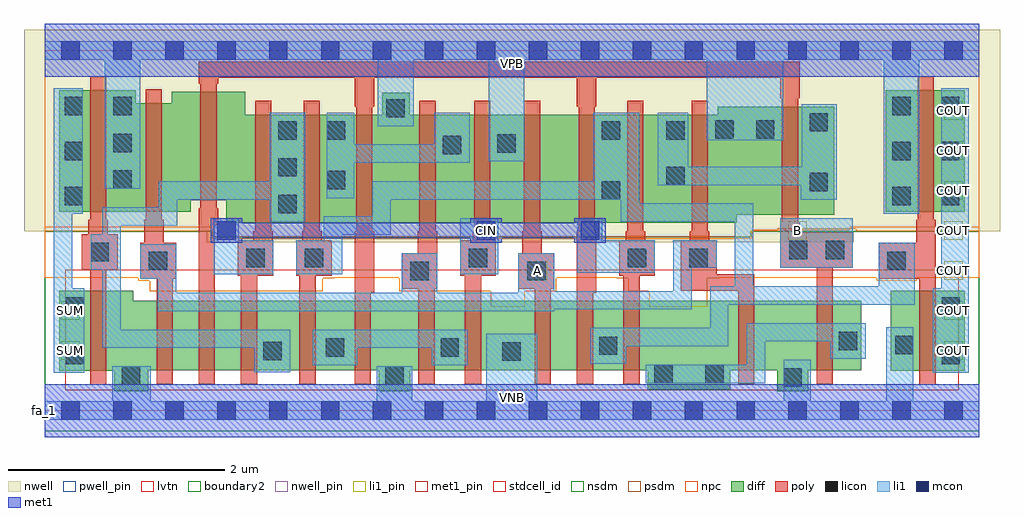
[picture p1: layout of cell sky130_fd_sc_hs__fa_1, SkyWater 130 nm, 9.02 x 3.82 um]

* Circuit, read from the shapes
.subckt sky130_fd_sc_hs__fa_1 A B CIN COUT SUM VGND VNB VPB VPWR
XM1 VGND n1 SUM VNB sky130_fd_pr__nfet_01v8_lvt w=0.74 l=0.15
XM2 n2 A VGND VNB sky130_fd_pr__nfet_01v8_lvt w=0.64 l=0.15
XM3 n3 B n2 VNB sky130_fd_pr__nfet_01v8_lvt w=0.64 l=0.15
XM4 n1 CIN n3 VNB sky130_fd_pr__nfet_01v8_lvt w=0.64 l=0.15
XM5 n4 n5 n1 VNB sky130_fd_pr__nfet_01v8_lvt w=0.64 l=0.15
XM6 VGND B n4 VNB sky130_fd_pr__nfet_01v8_lvt w=0.64 l=0.15
XM7 n4 A VGND VNB sky130_fd_pr__nfet_01v8_lvt w=0.64 l=0.15
XM8 VGND CIN n4 VNB sky130_fd_pr__nfet_01v8_lvt w=0.64 l=0.15
XM9 n6 A VGND VNB sky130_fd_pr__nfet_01v8_lvt w=0.64 l=0.15
XM10 n5 B n6 VNB sky130_fd_pr__nfet_01v8_lvt w=0.64 l=0.15
XM11 n7 CIN n5 VNB sky130_fd_pr__nfet_01v8_lvt w=0.64 l=0.15
XM12 VGND A n7 VNB sky130_fd_pr__nfet_01v8_lvt w=0.64 l=0.15
XM13 n7 B VGND VNB sky130_fd_pr__nfet_01v8_lvt w=0.64 l=0.15
XM14 COUT n5 VGND VNB sky130_fd_pr__nfet_01v8_lvt w=0.74 l=0.15
XM15 VPWR n1 SUM VPB sky130_fd_pr__pfet_01v8 w=1.12 l=0.15
XM16 n8 A VPWR VPB sky130_fd_pr__pfet_01v8 w=1 l=0.15
XM17 n9 B n8 VPB sky130_fd_pr__pfet_01v8 w=1 l=0.15
XM18 n1 CIN n9 VPB sky130_fd_pr__pfet_01v8 w=1 l=0.15
XM19 n10 n5 n1 VPB sky130_fd_pr__pfet_01v8 w=1 l=0.15
XM20 VPWR B n10 VPB sky130_fd_pr__pfet_01v8 w=1 l=0.15
XM21 n10 A VPWR VPB sky130_fd_pr__pfet_01v8 w=1 l=0.15
XM22 VPWR CIN n10 VPB sky130_fd_pr__pfet_01v8 w=1 l=0.15
XM23 n11 A VPWR VPB sky130_fd_pr__pfet_01v8 w=1 l=0.15
XM24 n5 B n11 VPB sky130_fd_pr__pfet_01v8 w=1 l=0.15
XM25 n12 CIN n5 VPB sky130_fd_pr__pfet_01v8 w=1 l=0.15
XM26 VPWR A n12 VPB sky130_fd_pr__pfet_01v8 w=1 l=0.15
XM27 n12 B VPWR VPB sky130_fd_pr__pfet_01v8 w=1 l=0.15
XM28 COUT n5 VPWR VPB sky130_fd_pr__pfet_01v8 w=1.12 l=0.15
.ends

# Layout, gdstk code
import gdstk
lib = gdstk.Library(unit=1e-6, precision=1e-09)
def R(c, l, rs):  # rectangles x0, y0, x1, y1
    for r in rs: c.add(gdstk.rectangle(r[:2], r[2:], *l))
def A(c, l, x, y, w, h, nx, ny, dx, dy):  # array of equal rectangles
    R(c, l, [(x+i*dx, y+j*dy, x+i*dx+w, y+j*dy+h) for i in range(nx) for j in range(ny)])
def P(c, l, *ps):  # polygons
    for p in ps: c.add(gdstk.Polygon(p, *l))
nwell_pin = (64, 16)
nwell = (64, 20)
diff = (65, 20)
poly = (66, 20)
licon = (66, 44)
li1_pin = (67, 16)
li1 = (67, 20)
mcon = (67, 44)
met1_pin = (68, 16)
met1 = (68, 20)
stdcell_id = (81, 4)
nsdm = (93, 44)
psdm = (94, 20)
npc = (95, 20)
pwell_pin = (122, 16)
lvtn = (125, 44)
boundary2 = (236, 0)

sky130_fd_sc_hs__fa_1 = lib.new_cell('sky130_fd_sc_hs__fa_1')
R(sky130_fd_sc_hs__fa_1, nwell_pin, [(0,3.085,8.64,3.33)])
P(sky130_fd_sc_hs__fa_1, nwell, [(8.83,3.52),(-0.19,3.52),(-0.19,1.66),(1.5,1.66),(1.5,1.555),(7.48,1.555),(7.48,1.66),(8.83,1.66)])
R(sky130_fd_sc_hs__fa_1, diff, [(7.82,0.37,8.505,1.11), (7.775,1.84,8.505,2.96)])
P(sky130_fd_sc_hs__fa_1, diff, [(7.3,2.81),(6.22,2.81),(6.22,2.735),(3.375,2.735),(3.375,2.94),(3.12,2.94),(3.12,2.735),(1.855,2.735),(1.855,2.945),(1.175,2.945),(1.175,2.84),(0.845,2.84),(0.845,2.96),(0.135,2.96),(0.135,1.84),(1.35,1.84),(1.35,1.945),(1.68,1.945),(1.68,1.735),(6.395,1.735),(6.395,1.81),(7.3,1.81)],
  [(7.55,1.015),(0.82,1.015),(0.82,1.11),(0.135,1.11),(0.135,0.37),(0.645,0.37),(0.645,0.18),(0.96,0.18),(0.96,0.375),(3.09,0.375),(3.09,0.18),(3.38,0.18),(3.38,0.375),(5.575,0.375),(5.575,0.195),(6.335,0.195),(6.335,0.375),(6.77,0.375),(6.77,0.18),(7.06,0.18),(7.06,0.375),(7.55,0.375)])
P(sky130_fd_sc_hs__fa_1, poly, [(0.675,1.63),(0.585,1.63),(0.585,1.765),(0.57,1.765),(0.57,3.09),(0.42,3.09),(0.42,1.765),(0.405,1.765),(0.405,1.63),(0.345,1.63),(0.345,1.3),(0.42,1.3),(0.42,0.24),(0.57,0.24),(0.57,1.3),(0.675,1.3)],
  [(1.215,1.55),(1.1,1.55),(1.1,1.765),(1.085,1.765),(1.085,2.97),(0.935,2.97),(0.935,1.765),(0.92,1.765),(0.92,1.55),(0.885,1.55),(0.885,1.22),(1.035,1.22),(1.035,0.245),(1.185,0.245),(1.185,1.22),(1.215,1.22)],
  [(2.115,1.575),(2.11,1.575),(2.11,1.66),(2.095,1.66),(2.095,2.865),(1.945,2.865),(1.945,1.66),(1.93,1.66),(1.93,1.575),(1.785,1.575),(1.785,1.245),(1.815,1.245),(1.815,0.245),(1.965,0.245),(1.965,1.245),(2.115,1.245)],
  [(2.655,1.575),(2.56,1.575),(2.56,1.66),(2.545,1.66),(2.545,2.865),(2.395,2.865),(2.395,1.66),(2.38,1.66),(2.38,1.575),(2.325,1.575),(2.325,1.245),(2.355,1.245),(2.355,0.245),(2.505,0.245),(2.505,1.245),(2.655,1.245)],
  [(3.63,1.66),(3.615,1.66),(3.615,2.865),(3.465,2.865),(3.465,1.66),(3.45,1.66),(3.45,1.455),(3.3,1.455),(3.3,1.125),(3.455,1.125),(3.455,0.245),(3.605,0.245),(3.605,1.125),(3.63,1.125)],
  [(4.17,1.575),(4.135,1.575),(4.135,1.66),(4.12,1.66),(4.12,2.865),(3.97,2.865),(3.97,1.66),(3.955,1.66),(3.955,1.575),(3.84,1.575),(3.84,1.245),(3.885,1.245),(3.885,0.245),(4.035,0.245),(4.035,1.245),(4.17,1.245)],
  [(4.71,1.455),(4.595,1.455),(4.595,1.66),(4.58,1.66),(4.58,2.865),(4.43,2.865),(4.43,1.66),(4.415,1.66),(4.415,1.455),(4.38,1.455),(4.38,1.125),(4.53,1.125),(4.53,0.245),(4.68,0.245),(4.68,1.125),(4.71,1.125)],
  [(5.64,1.575),(5.55,1.575),(5.55,1.66),(5.535,1.66),(5.535,2.865),(5.385,2.865),(5.385,1.66),(5.37,1.66),(5.37,1.575),(5.31,1.575),(5.31,1.245),(5.35,1.245),(5.35,0.245),(5.5,0.245),(5.5,1.245),(5.64,1.245)],
  [(6.56,1.26),(6.21,1.26),(6.21,1.575),(6.145,1.575),(6.145,1.66),(6.13,1.66),(6.13,2.865),(5.98,2.865),(5.98,1.66),(5.965,1.66),(5.965,1.575),(5.88,1.575),(5.88,1.11),(6.41,1.11),(6.41,0.245),(6.56,0.245)],
  [(7.47,1.65),(6.98,1.65),(6.98,1.735),(6.965,1.735),(6.965,2.885),(6.98,2.885),(6.98,3.225),(1.425,3.225),(1.425,3.02),(1.44,3.02),(1.44,1.87),(1.425,1.87),(1.425,0.245),(1.575,0.245),(1.575,1.715),(1.605,1.715),(1.605,1.87),(1.59,1.87),(1.59,3.02),(1.605,3.02),(1.605,3.075),(2.865,3.075),(2.865,2.81),(2.88,2.81),(2.88,1.66),(2.865,1.66),(2.865,0.245),(3.015,0.245),(3.015,1.09),(3.045,1.09),(3.045,1.66),(3.03,1.66),(3.03,2.81),(3.045,2.81),(3.045,3.075),(4.92,3.075),(4.92,2.81),(4.935,2.81),(4.935,1.66),(4.92,1.66),(4.92,0.245),(5.07,0.245),(5.07,1.09),(5.1,1.09),(5.1,1.66),(5.085,1.66),(5.085,2.81),(5.1,2.81),(5.1,3.075),(6.8,3.075),(6.8,2.885),(6.815,2.885),(6.815,1.735),(6.8,1.735),(6.8,1.32),(7.135,1.32),(7.135,0.245),(7.285,0.245),(7.285,1.32),(7.47,1.32)],
  [(8.235,1.765),(8.22,1.765),(8.22,3.09),(8.07,3.09),(8.07,1.765),(8.055,1.765),(8.055,1.55),(7.71,1.55),(7.71,1.22),(8.085,1.22),(8.085,0.24),(8.235,0.24)])
A(sky130_fd_sc_hs__fa_1, licon, 2.16, 1.825, 0.17, 0.17, 1, 3, 0, 0.34)
A(sky130_fd_sc_hs__fa_1, licon, 0.185, 1.9, 0.17, 0.17, 1, 3, 0, 0.415)
A(sky130_fd_sc_hs__fa_1, licon, 7.835, 1.9, 0.17, 0.17, 1, 3, 0, 0.415)
A(sky130_fd_sc_hs__fa_1, licon, 8.285, 1.9, 0.17, 0.17, 1, 3, 0, 0.415)
A(sky130_fd_sc_hs__fa_1, licon, 0.635, 2.05, 0.17, 0.17, 1, 3, 0, 0.34)
R(sky130_fd_sc_hs__fa_1, licon, [(6.83,0.22,7,0.39), (0.715,0.24,0.885,0.41), (3.15,0.24,3.32,0.41), (5.635,0.255,5.805,0.425), (6.105,0.255,6.275,0.425), (0.195,0.43,0.365,0.6), (8.29,0.43,8.46,0.6), (4.23,0.46,4.4,0.63), (2.02,0.465,2.19,0.635), (2.6,0.5,2.77,0.67), (3.66,0.5,3.83,0.67), (5.125,0.515,5.295,0.685), (7.86,0.52,8.03,0.69), (7.34,0.56,7.51,0.73), (0.195,0.88,0.365,1.05), (8.29,0.88,8.46,1.05), (3.38,1.205,3.55,1.375), (4.46,1.205,4.63,1.375), (0.965,1.3,1.135,1.47), (7.79,1.3,7.96,1.47), (1.865,1.325,2.035,1.495), (2.405,1.325,2.575,1.495), (3.92,1.325,4.09,1.495), (5.39,1.325,5.56,1.495), (5.96,1.325,6.13,1.495), (0.425,1.38,0.595,1.55), (6.88,1.4,7.05,1.57), (7.22,1.4,7.39,1.57), (5.15,1.95,5.32,2.12), (7.07,2.03,7.24,2.2), (2.61,2.045,2.78,2.215), (5.745,2.085,5.915,2.255), (3.68,2.37,3.85,2.54), (4.185,2.385,4.355,2.555), (2.61,2.505,2.78,2.675), (5.15,2.505,5.32,2.675), (5.745,2.505,5.915,2.675), (6.2,2.515,6.37,2.685), (6.575,2.515,6.745,2.685), (7.07,2.58,7.24,2.75), (3.16,2.71,3.33,2.88)])
A(sky130_fd_sc_hs__fa_1, li1_pin, 8.315, 0.47, 0.17, 0.17, 1, 7, 0, 0.37)
R(sky130_fd_sc_hs__fa_1, li1_pin, [(0.155,0.47,0.325,0.64), (0.155,0.84,0.325,1.01), (4.475,1.21,4.645,1.38), (6.875,1.58,7.045,1.75)])
R(sky130_fd_sc_hs__fa_1, li1, [(3.84,1.26,4.195,1.78), (6.8,1.32,7.47,1.78)])
P(sky130_fd_sc_hs__fa_1, li1, [(7.59,0.81),(6.49,0.81),(6.49,0.425),(5.555,0.425),(5.555,0.255),(6.66,0.255),(6.66,0.64),(7.26,0.64),(7.26,0.48),(7.59,0.48)],
  [(8.04,1.55),(7.71,1.55),(7.71,1.15),(6.55,1.15),(6.55,1.915),(5.495,1.915),(5.495,2.755),(5.07,2.755),(5.07,2.12),(3.03,2.12),(3.03,1.795),(2.58,1.795),(2.58,1.575),(2.325,1.575),(2.325,1.26),(2.75,1.26),(2.75,1.625),(3.2,1.625),(3.2,1.95),(5.325,1.95),(5.325,1.745),(6.38,1.745),(6.38,1.15),(6.15,1.15),(6.15,0.765),(5.045,0.765),(5.045,0.435),(5.375,0.435),(5.375,0.595),(6.32,0.595),(6.32,0.98),(8.04,0.98)],
  [(8.54,2.98),(8.285,2.98),(8.285,1.13),(8.21,1.13),(8.21,0.35),(8.54,0.35)],
  [(8.64,3.415),(0,3.415),(0,3.245),(0.555,3.245),(0.555,2.05),(0.885,2.05),(0.885,3.245),(3.08,3.245),(3.08,2.63),(3.41,2.63),(3.41,3.245),(4.105,3.245),(4.105,2.305),(4.435,2.305),(4.435,3.245),(6.12,3.245),(6.12,2.5),(6.825,2.5),(6.825,3.245),(7.755,3.245),(7.755,1.82),(8.085,1.82),(8.085,3.245),(8.64,3.245)],
  [(8.64,0.085),(8.03,0.085),(8.03,0.77),(7.78,0.77),(7.78,0.085),(7.08,0.085),(7.08,0.47),(6.83,0.47),(6.83,0.085),(4.555,0.085),(4.555,0.71),(4.08,0.71),(4.08,0.085),(3.4,0.085),(3.4,0.41),(3.07,0.41),(3.07,0.085),(0.98,0.085),(0.98,0.41),(0.625,0.41),(0.625,0.085),(0,0.085),(0,-0.085),(8.64,-0.085)],
  [(0.365,1.13),(0.255,1.13),(0.255,1.82),(0.355,1.82),(0.355,2.98),(0.085,2.98),(0.085,0.35),(0.365,0.35)],
  [(2.115,1.575),(1.795,1.575),(1.795,1.78),(1.565,1.78),(1.565,1.26),(2.115,1.26)],
  [(2.41,2.755),(2.08,2.755),(2.08,2.12),(1.055,2.12),(1.055,1.88),(0.535,1.88),(0.535,1.63),(0.425,1.63),(0.425,1.3),(0.535,1.3),(0.535,0.58),(1.94,0.58),(1.94,0.355),(2.27,0.355),(2.27,0.75),(0.705,0.75),(0.705,1.71),(1.225,1.71),(1.225,1.95),(2.08,1.95),(2.08,1.745),(2.41,1.745)],
  [(3.91,0.75),(2.48,0.75),(2.48,0.42),(2.89,0.42),(2.89,0.58),(3.58,0.58),(3.58,0.42),(3.91,0.42)],
  [(3.93,2.755),(3.6,2.755),(3.6,2.46),(2.86,2.46),(2.86,2.755),(2.61,2.755),(2.61,1.965),(2.86,1.965),(2.86,2.29),(3.93,2.29)],
  [(5.64,1.575),(5.155,1.575),(5.155,1.78),(4.925,1.78),(4.925,1.275),(5.64,1.275)],
  [(6.21,1.575),(5.81,1.575),(5.81,1.105),(4.71,1.105),(4.71,1.455),(4.38,1.455),(4.38,1.09),(3.63,1.09),(3.63,1.455),(3.3,1.455),(3.3,1.09),(1.215,1.09),(1.215,1.54),(0.885,1.54),(0.885,1.22),(1.045,1.22),(1.045,0.92),(4.71,0.92),(4.71,0.935),(5.98,0.935),(5.98,1.32),(6.21,1.32)],
  [(7.32,2.83),(7,2.83),(7,2.255),(5.95,2.255),(5.95,2.755),(5.665,2.755),(5.665,2.085),(6.99,2.085),(6.99,1.95),(7.32,1.95)])
A(sky130_fd_sc_hs__fa_1, mcon, 0.155, -0.085, 0.17, 0.17, 18, 2, 0.48, 3.33)
R(sky130_fd_sc_hs__fa_1, mcon, [(1.595,1.58,1.765,1.75), (3.995,1.58,4.165,1.75), (4.955,1.58,5.125,1.75)])
R(sky130_fd_sc_hs__fa_1, met1_pin, [(0,0,8.64,0.245), (3.995,1.58,4.165,1.75), (0,3.085,8.64,3.33)])
R(sky130_fd_sc_hs__fa_1, met1, [(0,-0.245,8.64,0.245), (0,3.085,8.64,3.575)])
P(sky130_fd_sc_hs__fa_1, met1, [(5.185,1.78),(4.895,1.78),(4.895,1.735),(4.225,1.735),(4.225,1.78),(3.935,1.78),(3.935,1.735),(1.825,1.735),(1.825,1.78),(1.535,1.78),(1.535,1.55),(1.825,1.55),(1.825,1.595),(3.935,1.595),(3.935,1.55),(4.225,1.55),(4.225,1.595),(4.895,1.595),(4.895,1.55),(5.185,1.55)])
R(sky130_fd_sc_hs__fa_1, stdcell_id, [(0,0,8.64,3.33)])
P(sky130_fd_sc_hs__fa_1, nsdm, [(8.64,1.66),(6.525,1.66),(6.525,1.605),(1.55,1.605),(1.55,1.66),(0,1.66),(0,-0.19),(8.64,-0.19)])
P(sky130_fd_sc_hs__fa_1, psdm, [(8.64,3.52),(0,3.52),(0,1.66),(1.55,1.66),(1.55,1.605),(6.525,1.605),(6.525,1.66),(6.77,1.66),(6.77,1.68),(7.5,1.68),(7.5,1.66),(8.64,1.66)])
P(sky130_fd_sc_hs__fa_1, npc, [(8.64,1.7),(7.44,1.7),(7.44,1.67),(6.535,1.67),(6.535,1.595),(1.54,1.595),(1.54,1.7),(0,1.7),(0,1.23),(0.865,1.23),(0.865,1.2),(0.97,1.2),(0.97,1.105),(2.57,1.105),(2.57,1.225),(2.675,1.225),(2.675,1.23),(3.28,1.23),(3.28,1.105),(4.125,1.105),(4.125,0.96),(4.44,0.96),(4.44,1.105),(4.73,1.105),(4.73,1.23),(5.29,1.23),(5.29,1.225),(5.395,1.225),(5.395,1.105),(5.59,1.105),(5.59,0.96),(6.125,0.96),(6.125,1.225),(6.23,1.225),(6.23,1.23),(7.69,1.23),(7.69,1.2),(8.06,1.2),(8.06,1.23),(8.64,1.23)])
R(sky130_fd_sc_hs__fa_1, pwell_pin, [(0,0,8.64,0.245)])
R(sky130_fd_sc_hs__fa_1, lvtn, [(0.19,0.19,8.45,1.3)])
R(sky130_fd_sc_hs__fa_1, boundary2, [(0,0,8.64,3.33)])
sky130_fd_sc_hs__fa_1.add(gdstk.Label('fa_1', (0,0), layer=83, texttype=44))
sky130_fd_sc_hs__fa_1.add(gdstk.Label('VNB', (4.32,0.123), layer=64, texttype=59))
sky130_fd_sc_hs__fa_1.add(gdstk.Label('VPB', (4.32,3.208), layer=64, texttype=5))
sky130_fd_sc_hs__fa_1.add(gdstk.Label('CIN', (4.08,1.665), layer=68, texttype=5))
sky130_fd_sc_hs__fa_1.add(gdstk.Label('VPWR', (4.32,3.208), layer=68, texttype=5))
sky130_fd_sc_hs__fa_1.add(gdstk.Label('VGND', (4.32,0.123), layer=68, texttype=5))
sky130_fd_sc_hs__fa_1.add(gdstk.Label('A', (4.56,1.295), layer=67, texttype=5))
sky130_fd_sc_hs__fa_1.add(gdstk.Label('B', (6.96,1.665), layer=67, texttype=5))
sky130_fd_sc_hs__fa_1.add(gdstk.Label('COUT', (8.4,0.555), layer=67, texttype=5))
sky130_fd_sc_hs__fa_1.add(gdstk.Label('COUT', (8.4,0.925), layer=67, texttype=5))
sky130_fd_sc_hs__fa_1.add(gdstk.Label('COUT', (8.4,1.295), layer=67, texttype=5))
sky130_fd_sc_hs__fa_1.add(gdstk.Label('COUT', (8.4,1.665), layer=67, texttype=5))
sky130_fd_sc_hs__fa_1.add(gdstk.Label('COUT', (8.4,2.035), layer=67, texttype=5))
sky130_fd_sc_hs__fa_1.add(gdstk.Label('COUT', (8.4,2.405), layer=67, texttype=5))
sky130_fd_sc_hs__fa_1.add(gdstk.Label('COUT', (8.4,2.775), layer=67, texttype=5))
sky130_fd_sc_hs__fa_1.add(gdstk.Label('SUM', (0.24,0.555), layer=67, texttype=5))
sky130_fd_sc_hs__fa_1.add(gdstk.Label('SUM', (0.24,0.925), layer=67, texttype=5))

lib.write_gds('sky130_fd_sc_hs__fa_1.gds')
